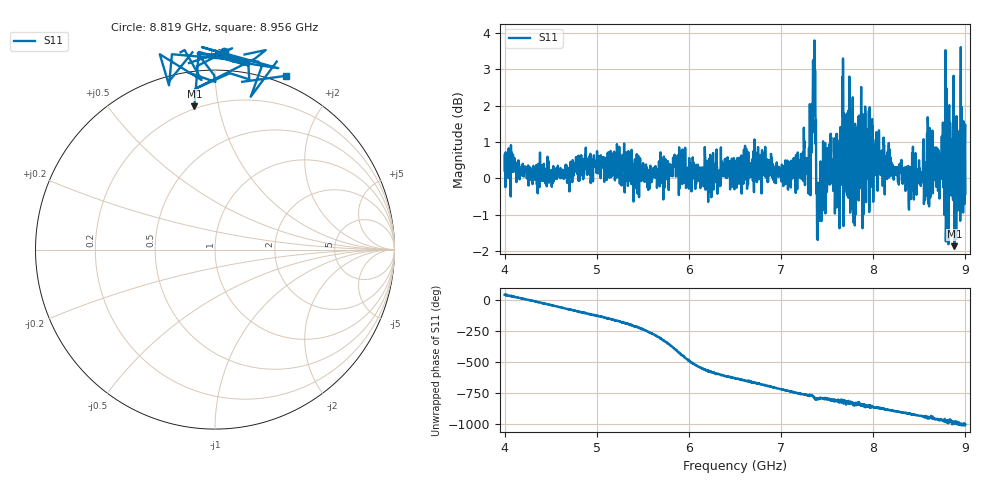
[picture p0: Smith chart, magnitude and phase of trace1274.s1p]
! Created with skrf 1.8.0 (http://scikit-rf.org).
# Hz S RI R 50.0
!freq ReS11 ImS11
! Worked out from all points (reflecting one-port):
!   1601 points, 4 GHz to 9 GHz, reference 50 ohm
!   lowest |S11| = -1.9 dB at 8.881 GHz (marker M1), VSWR 9.37, Z = 9.26 + j42.5 ohm
!   phase of S11 starts at 46 deg and turns -1051 deg over the sweep
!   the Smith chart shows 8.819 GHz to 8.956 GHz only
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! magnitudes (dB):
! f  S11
! 4 GHz  0.2
! 4.625 GHz  0.1
! 4.897 GHz  0.1
! 5.25 GHz  -0.1
! 5.875 GHz  0.1
! 6.5 GHz  -0.1
! 7.125 GHz  0.4
! 7.294 GHz  -0.4
! 7.319 GHz  -0.5
! 7.347 GHz  3.2
! 7.362 GHz  3.8
! 7.4 GHz  -0.1
! 7.412 GHz  -0.6
! 7.519 GHz  -0.1
! 7.609 GHz  0.2
! 7.65 GHz  0.8
! 7.75 GHz  -0.9
! 7.784 GHz  0.8
! 7.844 GHz  0.6
! 7.909 GHz  0.6
! 7.928 GHz  0.9
! 7.981 GHz  -0.2
! 8.009 GHz  0.9
! 8.375 GHz  -0.1
! 8.822 GHz  1.9
! 8.881 GHz  -1.9
! 8.972 GHz  0.7
! 9 GHz  -0.4
